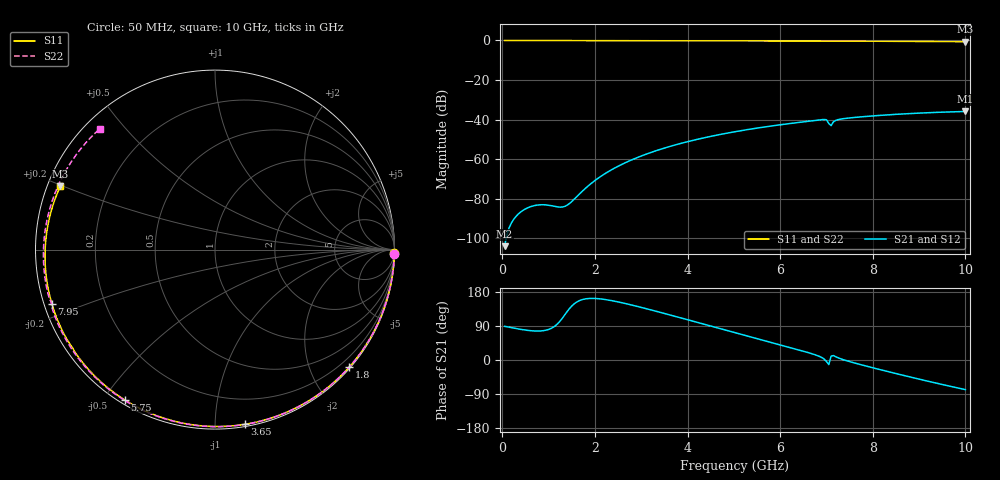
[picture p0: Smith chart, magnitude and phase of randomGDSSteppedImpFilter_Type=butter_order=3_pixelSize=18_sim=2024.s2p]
! freq	dB(S11)	phase(S11)	dB(S12)	phase(S12)
!  dB(S21)	phase(S21)	dB(S22)	phase(S22)
!S-par simulation data
#  GHz  S  DB  R 50
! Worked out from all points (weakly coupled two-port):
!   200 points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, 50 MHz to 10 GHz, reference 50 ohm
!   highest |S21| = -35.89 dB at 10 GHz (marker M1); lowest = -103.9 dB at 50 MHz (marker M2)
!   lowest |S11| = -0.6 dB at 10 GHz (marker M3), VSWR 28.14, Z = 1.85 + j9.89 ohm
!   |S11| at or under -10 dB: nowhere
!   |S22| runs from -0.6 to 0.0 dB; largest |S21 - S12| = 0
!   S11 on the Smith chart (normalised r, x): 50 MHz: 1, -97; 1.8 GHz: 0.02, -2.67; 3.65 GHz: 0.01, -1.18; 5.75 GHz: 0.02, -0.57; 7.95 GHz: 0.02, -0.16; 10 GHz: 0.04, +0.20
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0.05  -0.00 -1.2  -103.92 88.8  -103.92 88.8  -0.00 -1.4
0.75  -0.02 -17.4  -83.18 76.4  -83.18 76.4  -0.03 -20.0
1.55  -0.05 -35.5  -80.27 148.0  -80.27 148.0  -0.05 -40.8
1.75  -0.05 -40.0  -75.68 160.2  -75.68 160.2  -0.06 -45.8
1.8  -0.05 -41.1  -74.61 161.4  -74.61 161.4  -0.06 -47.1
2.1  -0.06 -47.7  -69.09 161.5  -69.09 161.5  -0.07 -54.6
2.45  -0.07 -55.3  -64.16 154.6  -64.16 154.6  -0.08 -63.2
2.9  -0.08 -64.9  -59.29 141.9  -59.29 141.9  -0.09 -73.9
3.4  -0.10 -75.2  -55.09 126.1  -55.09 126.1  -0.11 -85.5
3.65  -0.11 -80.3  -53.33 117.9  -53.33 117.9  -0.12 -91.2
4.35  -0.13 -94.3  -49.21 94.6  -49.21 94.6  -0.15 -106.6
5.05  -0.16 -107.8  -46.00 71.4  -46.00 71.4  -0.18 -121.4
5.75  -0.20 -120.9  -43.41 48.3  -43.41 48.3  -0.22 -135.8
6.7  -0.26 -138.4  -40.57 16.0  -40.57 16.0  -0.29 -155.1
7  -0.29 -144.0  -40.07 -3.8  -40.07 -3.8  -0.33 -161.3
7.1  -0.32 -145.7  -43.01 10.1  -43.01 10.1  -0.35 -163.0
7.15  -0.31 -146.6  -41.10 11.7  -41.10 11.7  -0.33 -164.0
7.25  -0.31 -148.5  -40.00 5.8  -40.00 5.8  -0.33 -166.1
7.95  -0.38 -161.5  -38.21 -19.0  -38.21 -19.0  -0.40 179.4
8.35  -0.42 -169.1  -37.55 -31.3  -37.55 -31.3  -0.44 171.0
9.2  -0.51 174.2  -36.49 -56.2  -36.49 -56.2  -0.53 152.3
10  -0.62 157.6  -35.89 -78.2  -35.89 -78.2  -0.63 133.6
